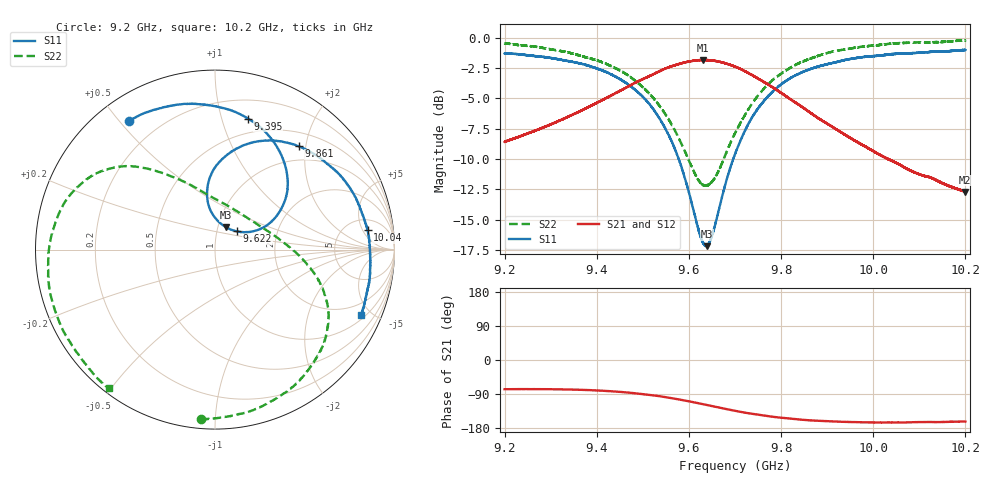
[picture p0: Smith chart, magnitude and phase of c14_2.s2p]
!Agilent Technologies,N5242A,MY51221714,A.09.90.19
!Agilent N5242A: A.09.90.19
!Date: Saturday, December 30, 2023 10:51:22
!Correction: S11(Full 2 Port(1,2))
!S21(Full 2 Port(1,2))
!S12(Full 2 Port(1,2))
!S22(Full 2 Port(1,2))
!S2P File: Measurements: S11, S21, S12, S22:
# Hz S  dB  R 50
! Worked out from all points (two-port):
!   16001 points, 9.2 GHz to 10.2 GHz, reference 50 ohm
!   highest |S21| = -1.82 dB at 9.63 GHz (marker M1); lowest = -12.7 dB at 10.2 GHz (marker M2)
!   |S21| within 3 dB of the highest: 9.427665 GHz to 9.427744 GHz (78.88 kHz wide, 0.000837 % of centre); 9.428 GHz to 9.811 GHz (383 MHz wide, 3.98 % of centre)
!   lowest |S11| = -17.2 dB at 9.639 GHz (marker M3), VSWR 1.32, Z = 54.4 + j13.9 ohm
!   |S11| at or under -10 dB: 9.578 GHz to 9.696 GHz (118.2 MHz wide, 1.23 % of centre)
!   |S22| runs from -12.2 to -0.2 dB; largest |S21 - S12| = 0.013
!   S11 on the Smith chart (normalised r, x): 9.2 GHz: 0.10, +0.53; 9.395 GHz: 0.36, +1.21; 9.622 GHz: 1.25, +0.26; 9.861 GHz: 0.73, +1.87; 10.04 GHz: 8, +6; 10.2 GHz: 1.24, -4.35
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9.2e9  -1.30 124.0  -8.57 -77.1  -8.55 -77.9  -0.46 -94.6
9.275125e9  -1.54 106.5  -7.53 -76.9  -7.50 -77.5  -0.79 -74.3
9.366688e9  -2.14 83.7  -6.00 -78.7  -5.98 -79.5  -1.50 -50.6
9.394938e9  -2.47 76.0  -5.47 -80.1  -5.44 -80.9  -1.80 -43.4
9.471688e9  -3.94 53.7  -3.95 -86.4  -3.93 -87.1  -3.19 -25.5
9.533375e9  -6.49 34.9  -2.81 -95.1  -2.80 -95.8  -5.47 -10.3
9.578875e9  -10.11 25.0  -2.15 -104.3  -2.13 -105.0  -8.35 6.1
9.621812e9  -15.97 39.7  -1.84 -114.4  -1.83 -115.1  -11.77 40.3
9.630125e9  -16.85 50.2  -1.82 -116.5  -1.83 -117.3  -12.12 50.2
9.639312e9  -17.18 64.7  -1.84 -118.9  -1.84 -119.6  -12.19 61.8
9.66025e9  -14.91 90.4  -1.93 -124.2  -1.92 -125.0  -11.28 85.8
9.7e9  -9.60 97.4  -2.37 -134.0  -2.34 -134.8  -7.87 113.0
9.73425e9  -6.75 89.8  -3.02 -141.5  -3.00 -142.3  -5.59 125.2
9.783938e9  -4.36 74.3  -4.13 -150.0  -4.14 -151.0  -3.41 136.4
9.8615e9  -2.60 50.9  -6.12 -159.1  -6.11 -159.8  -1.74 151.7
9.866688e9  -2.53 49.5  -6.25 -159.5  -6.25 -160.2  -1.67 152.8
9.957625e9  -1.70 26.3  -8.42 -163.9  -8.41 -164.6  -0.84 172.7
1.003338e10  -1.39 9.2  -10.03 -164.7  -10.01 -165.5  -0.50 -169.5
1.004188e10  -1.34 7.3  -10.16 -164.7  -10.16 -165.5  -0.48 -167.5
1.011119e10  -1.21 -6.7  -11.39 -163.4  -11.38 -164.1  -0.35 -150.4
1.01995e10  -1.00 -23.9  -12.70 -162.3  -12.67 -163.2  -0.24 -127.6
1.02e10  -1.00 -24.1  -12.69 -162.3  -12.68 -163.2  -0.24 -127.5
